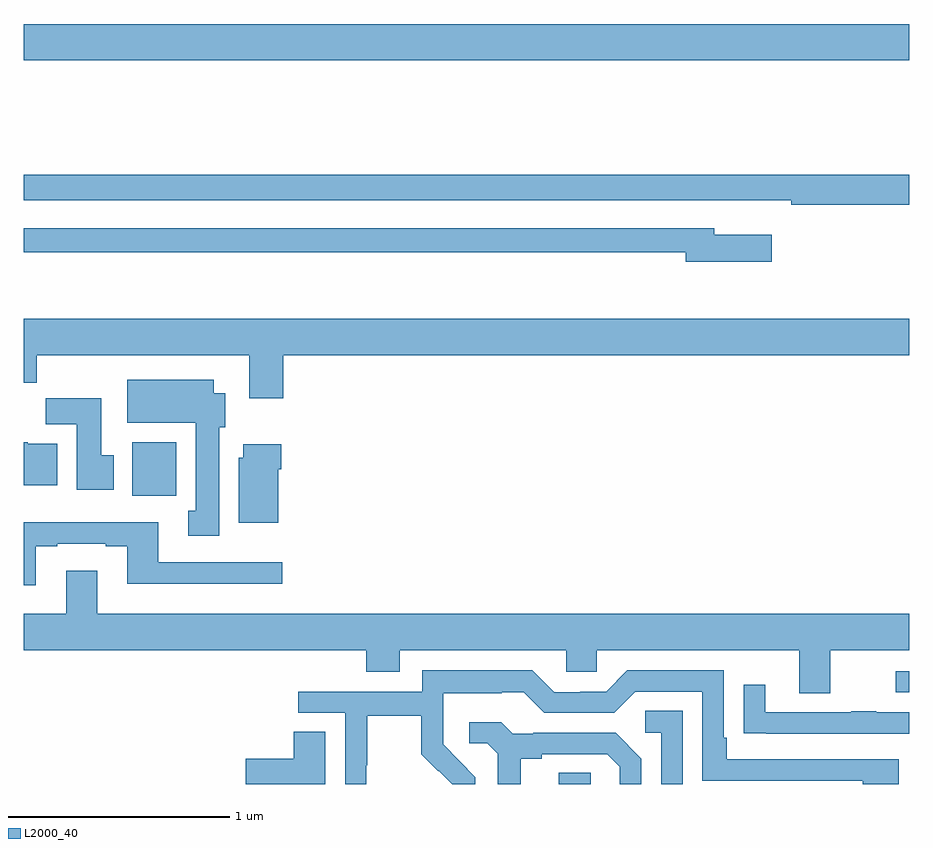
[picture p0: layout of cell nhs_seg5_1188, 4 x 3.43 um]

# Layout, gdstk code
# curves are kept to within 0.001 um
import gdstk
lib = gdstk.Library(unit=1e-6, precision=1e-09)
def R(c, l, rs):  # rectangles x0, y0, x1, y1
    for r in rs: c.add(gdstk.rectangle(r[:2], r[2:], *l))
def P(c, l, *ps):  # polygons
    for p in ps: c.add(gdstk.Polygon(p, *l))
L2000_40 = (2000, 40)

nhs_seg5_1188 = lib.new_cell('nhs_seg5_1188')
R(nhs_seg5_1188, L2000_40, [(185.417,878.799,185.562,878.849), (186.939,879.213,187,879.309), (183.491,880.1,183.688,880.342), (183,882.068,187,882.232)])
P(nhs_seg5_1188, L2000_40, [(187,881.552),(183,881.552),(183,881.436),(186.214,881.436),(186.214,881.435),(186.466,881.435),(186.466,881.416),(187,881.416)],
  [(186.379,881.281),(186.118,881.281),(186.118,881.31),(183,881.31),(183,881.202),(185.99,881.202),(185.99,881.159),(186.379,881.159)],
  [(184.172,880.736),(187,880.736),(187,880.9),(183,880.9),(183,880.612),(183.059,880.612),(183.059,880.736),(184.019,880.736),(184.019,880.542),(184.172,880.542)],
  [(183.883,880.41),(183.91,880.41),(183.91,880.564),(183.859,880.564),(183.859,880.624),(183.467,880.624),(183.467,880.43),(183.776,880.43),(183.776,880.034),(183.743,880.034),(183.743,879.921),(183.883,879.921)],
  [(183.406,880.284),(183.349,880.284),(183.349,880.542),(183.1,880.542),(183.1,880.424),(183.239,880.424),(183.239,880.128),(183.406,880.128)],
  [(183.151,880.336),(183.018,880.336),(183.018,880.342),(183,880.342),(183,880.148),(183.151,880.148)],
  [(184.15,880.22),(184.163,880.22),(184.163,880.333),(183.992,880.333),(183.992,880.272),(183.971,880.272),(183.971,879.98),(184.15,879.98)],
  [(183.055,879.873),(183.151,879.873),(183.151,879.885),(183.371,879.885),(183.371,879.873),(183.467,879.873),(183.467,879.704),(184.168,879.704),(184.168,879.801),(183.607,879.801),(183.607,879.982),(183,879.982),(183,879.696),(183.055,879.696)],
  [(186.643,879.404),(187,879.404),(187,879.568),(183.331,879.568),(183.331,879.763),(183.191,879.763),(183.191,879.568),(183,879.568),(183,879.404),(184.547,879.404),(184.547,879.305),(184.699,879.305),(184.699,879.404),(185.451,879.404),(185.451,879.306),(185.589,879.306),(185.589,879.404),(186.503,879.404),(186.503,879.21),(186.643,879.21)],
  [(184.548,878.884),(184.551,878.884),(184.551,879.108),(184.795,879.108),(184.795,878.933),(184.872,878.856),(184.875,878.859),(184.936,878.799),(185.04,878.799),(185.04,878.83),(184.894,878.978),(184.894,879.075),(184.896,879.075),(184.896,879.209),(185.159,879.209),(185.159,879.213),(185.259,879.213),(185.352,879.12),(185.667,879.12),(185.763,879.216),(186.066,879.216),(186.066,878.814),(186.791,878.814),(186.791,878.799),(186.952,878.799),(186.952,878.91),(186.175,878.91),(186.175,879.007),(186.162,879.007),(186.162,879.312),(185.727,879.312),(185.631,879.216),(185.513,879.216),(185.513,879.213),(185.397,879.213),(185.297,879.313),(184.8,879.313),(184.8,879.216),(184.239,879.216),(184.239,879.12),(184.452,879.12),(184.452,878.799),(184.548,878.799)],
  [(187,879.123),(186.851,879.123),(186.851,879.128),(186.739,879.128),(186.739,879.123),(186.349,879.123),(186.349,879.247),(186.253,879.247),(186.253,879.028),(186.355,879.028),(186.355,879.027),(187,879.027)],
  [(185.976,879.131),(185.808,879.131),(185.808,879.03),(185.88,879.03),(185.88,878.799),(185.976,878.799)],
  [(185.245,878.912),(185.341,878.912),(185.341,878.934),(185.636,878.934),(185.693,878.877),(185.693,878.799),(185.79,878.799),(185.79,878.914),(185.674,879.03),(185.302,879.03),(185.302,879.027),(185.208,879.027),(185.156,879.079),(185.013,879.079),(185.013,878.982),(185.094,878.982),(185.141,878.935),(185.141,878.799),(185.245,878.799)],
  [(184.363,879.035),(184.22,879.035),(184.22,878.912),(184.002,878.912),(184.002,878.799),(184.363,878.799)])

lib.write_gds('nhs_seg5_1188.gds')
